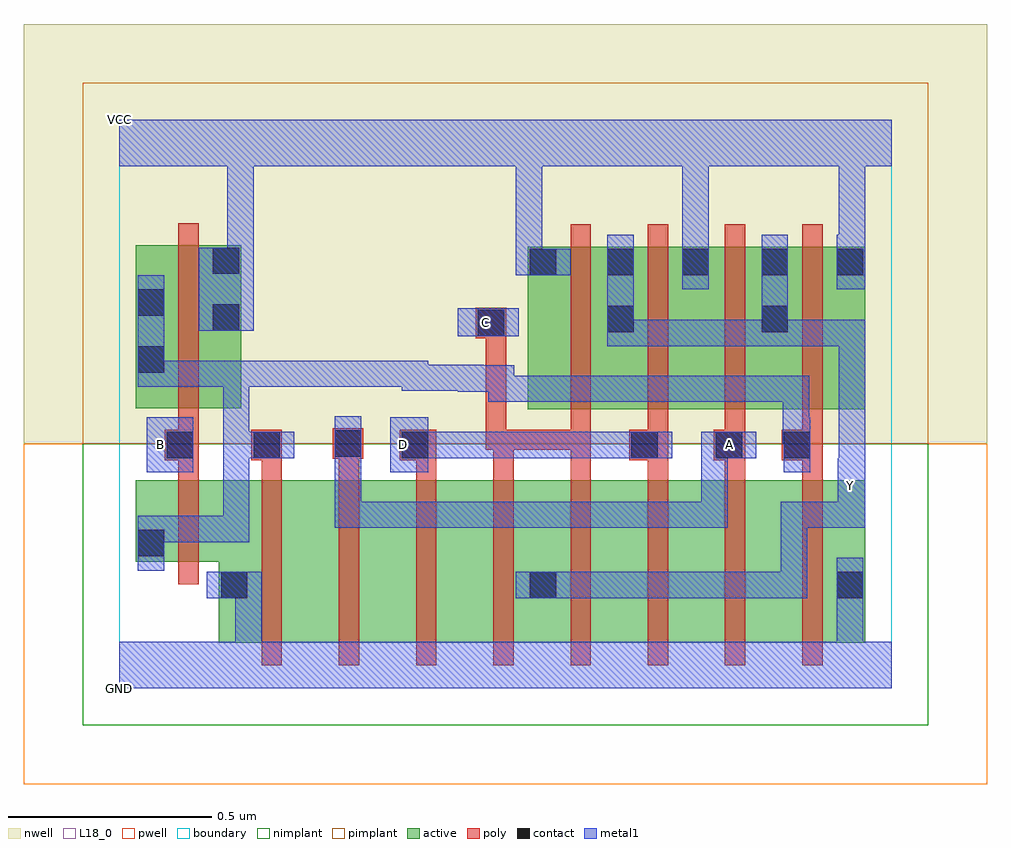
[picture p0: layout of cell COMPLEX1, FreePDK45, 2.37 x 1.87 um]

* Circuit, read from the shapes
.subckt COMPLEX1 A B C D GND VCC Y
M1 GND B n1 VSUBS nfet w=0.2u l=0.05u
M2 n2 n1 GND VSUBS nfet w=0.4u l=0.05u
M3 n3 A n2 VSUBS nfet w=0.4u l=0.05u
M4 n4 D n3 VSUBS nfet w=0.4u l=0.05u
M5 Y C n4 VSUBS nfet w=0.4u l=0.05u
M6 n5 C Y VSUBS nfet w=0.4u l=0.05u
M7 n6 D n5 VSUBS nfet w=0.4u l=0.05u
M8 n7 A n6 VSUBS nfet w=0.4u l=0.05u
M9 GND n1 n7 VSUBS nfet w=0.4u l=0.05u
M10 VCC B n1 n8 pfet w=0.4u l=0.05u
M11 Y C VCC n8 pfet w=0.4u l=0.05u
M12 VCC D Y n8 pfet w=0.4u l=0.05u
M13 Y A VCC n8 pfet w=0.4u l=0.05u
M14 VCC n1 Y n8 pfet w=0.4u l=0.05u
.ends

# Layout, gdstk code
import gdstk
lib = gdstk.Library(unit=1e-6, precision=1e-09)
def R(c, l, rs):  # rectangles x0, y0, x1, y1
    for r in rs: c.add(gdstk.rectangle(r[:2], r[2:], *l))
def A(c, l, x, y, w, h, nx, ny, dx, dy):  # array of equal rectangles
    R(c, l, [(x+i*dx, y+j*dy, x+i*dx+w, y+j*dy+h) for i in range(nx) for j in range(ny)])
active = (1, 0)
pwell = (2, 0)
nwell = (3, 0)
nimplant = (4, 0)
pimplant = (5, 0)
poly = (9, 0)
contact = (10, 0)
metal1 = (11, 0)
L18_0 = (18, 0)
boundary = (235, 0)

complex1 = lib.new_cell('COMPLEX1')
R(complex1, active, [(0.245,0.112,0.47,0.512), (0.245,0.112,0.32,0.312), (0.47,0.112,0.66,0.512), (0.66,0.112,0.85,0.512), (0.85,0.112,1.08,0.512), (1.005,0.112,1.23,0.512), (1.23,0.112,1.42,0.512), (1.42,0.112,1.61,0.512), (1.61,0.112,1.835,0.512), (1.76,0.112,1.835,0.512), (1.005,0.147,1.08,0.492), (0.04,0.312,0.115,0.512), (0.04,0.312,0.32,0.512), (1.005,0.687,1.27,1.087), (1.195,0.687,1.455,1.087), (1.38,0.687,1.65,1.087), (1.575,0.687,1.835,1.087), (1.76,0.687,1.835,1.087), (0.04,0.69,0.3,1.09), (0.04,0.69,0.115,1.057), (0.225,0.69,0.3,1.09), (1.005,0.72,1.08,1.087), (1.195,0.802,1.27,1.087), (1.575,0.802,1.65,1.087), (1.38,0.907,1.455,1.087)])
R(complex1, pwell, [(-0.235,-0.235,2.135,0.602)])
R(complex1, nwell, [(-0.235,0.602,2.135,1.635)])
R(complex1, nimplant, [(-0.09,-0.09,1.99,0.602)])
R(complex1, pimplant, [(-0.09,0.602,1.99,1.49)])
A(complex1, poly, 0.35, 0.057, 0.05, 0.51, 8, 1, 0.19, 0)
A(complex1, poly, 1.3, 0.517, 0.05, 0.095, 3, 1, 0.19, 0)
A(complex1, poly, 1.11, 0.587, 0.05, 0.095, 4, 1, 0.19, 0)
A(complex1, poly, 1.11, 0.632, 0.05, 0.51, 4, 1, 0.19, 0)
R(complex1, poly, [(0.145,0.257,0.195,0.567), (0.145,0.517,0.195,0.612), (0.35,0.517,0.4,0.612), (0.54,0.517,0.59,0.615), (0.73,0.517,0.78,0.612), (0.92,0.517,0.97,0.637), (1.11,0.517,1.16,0.637), (0.112,0.562,0.195,0.637), (0.325,0.562,0.4,0.637), (0.69,0.562,0.78,0.637), (1.255,0.562,1.35,0.637), (1.462,0.562,1.54,0.637), (1.63,0.562,1.73,0.637), (0.525,0.565,0.6,0.64), (0.145,0.587,0.195,0.685), (0.902,0.587,0.952,0.912), (0.902,0.587,0.955,0.637), (0.905,0.587,0.955,0.637), (0.905,0.587,0.97,0.637), (0.92,0.587,1.16,0.637), (0.92,0.587,0.97,0.637), (0.92,0.587,0.97,0.637), (1.11,0.587,1.16,0.637), (0.145,0.635,0.195,1.145), (0.877,0.862,0.952,0.937)])
R(complex1, contact, [(0.25,0.222,0.315,0.287), (1.01,0.222,1.075,0.287), (1.765,0.222,1.83,0.287), (0.045,0.325,0.11,0.39), (0.117,0.567,0.182,0.632), (0.33,0.567,0.395,0.632), (0.695,0.567,0.76,0.632), (1.26,0.567,1.325,0.632), (1.467,0.567,1.532,0.632), (1.635,0.567,1.7,0.632), (0.53,0.57,0.595,0.635), (0.045,0.777,0.11,0.842), (0.882,0.867,0.947,0.932), (1.2,0.877,1.265,0.942), (1.58,0.877,1.645,0.942), (0.23,0.88,0.295,0.945), (0.045,0.917,0.11,0.982), (1.01,1.017,1.075,1.082), (1.2,1.017,1.265,1.082), (1.385,1.017,1.45,1.082), (1.58,1.017,1.645,1.082), (1.765,1.017,1.83,1.082), (0.23,1.02,0.295,1.085)])
R(complex1, metal1, [(0,0,1.9,0.115), (0.285,0.05,0.35,0.287), (1.765,0.05,1.83,0.252), (1.765,0.187,1.83,0.322), (0.215,0.222,0.35,0.287), (0.975,0.222,1.11,0.287), (1.045,0.222,1.11,0.287), (1.045,0.222,1.11,0.287), (1.045,0.222,1.265,0.287), (1.2,0.222,1.265,0.287), (1.2,0.222,1.265,0.287), (1.2,0.222,1.265,0.287), (1.2,0.222,1.507,0.287), (1.442,0.222,1.507,0.287), (1.442,0.222,1.507,0.287), (1.442,0.222,1.507,0.287), (1.442,0.222,1.692,0.287), (1.627,0.222,1.692,0.287), (1.627,0.222,1.692,0.46), (0.045,0.29,0.11,0.425), (0.045,0.36,0.11,0.425), (0.045,0.36,0.11,0.425), (0.045,0.36,0.32,0.425), (0.255,0.36,0.32,0.425), (0.255,0.36,0.32,0.632), (0.53,0.395,0.595,0.46), (0.53,0.395,0.76,0.46), (0.53,0.395,0.595,0.6), (0.695,0.395,0.76,0.46), (0.695,0.395,0.76,0.46), (0.695,0.395,0.76,0.46), (0.695,0.395,0.897,0.46), (0.832,0.395,0.897,0.46), (0.832,0.395,1.035,0.46), (0.97,0.395,1.035,0.46), (0.97,0.395,1.127,0.46), (1.062,0.395,1.127,0.46), (1.062,0.395,1.265,0.46), (1.2,0.395,1.265,0.46), (1.2,0.395,1.265,0.46), (1.2,0.395,1.265,0.46), (1.2,0.395,1.497,0.46), (1.432,0.395,1.497,0.46), (1.432,0.395,1.497,0.632), (1.627,0.395,1.692,0.46), (1.627,0.395,1.835,0.46), (1.77,0.395,1.835,0.46), (1.77,0.395,1.835,0.46), (1.77,0.395,1.835,0.46), (1.77,0.395,1.835,0.497), (1.767,0.432,1.835,0.567), (1.77,0.502,1.835,0.907), (0.067,0.532,0.182,0.667), (0.667,0.532,0.76,0.667), (1.635,0.532,1.7,0.667), (0.53,0.535,0.595,0.6), (0.53,0.535,0.595,0.6), (0.53,0.535,0.595,0.67), (0.255,0.567,0.32,0.632), (0.255,0.567,0.36,0.632), (0.255,0.567,0.32,0.807), (0.295,0.567,0.43,0.632), (0.695,0.567,0.76,0.632), (0.695,0.567,0.76,0.632), (0.695,0.567,0.897,0.632), (0.832,0.567,0.897,0.632), (0.832,0.567,1.12,0.632), (1.055,0.567,1.12,0.632), (1.055,0.567,1.12,0.632), (1.055,0.567,1.12,0.632), (1.055,0.567,1.29,0.632), (1.225,0.567,1.29,0.632), (1.225,0.567,1.29,0.632), (1.225,0.567,1.36,0.632), (1.432,0.567,1.497,0.632), (1.432,0.567,1.497,0.632), (1.432,0.567,1.567,0.632), (1.632,0.602,1.697,0.667), (1.632,0.602,1.7,0.667), (1.632,0.602,1.697,0.77), (0.907,0.705,1.127,0.77), (0.907,0.705,0.972,0.795), (1.062,0.705,1.127,0.77), (1.062,0.705,1.127,0.77), (1.062,0.705,1.127,0.77), (1.062,0.705,1.265,0.77), (1.2,0.705,1.265,0.77), (1.2,0.705,1.265,0.77), (1.2,0.705,1.265,0.77), (1.2,0.705,1.507,0.77), (1.442,0.705,1.507,0.77), (1.442,0.705,1.507,0.77), (1.442,0.705,1.507,0.77), (1.442,0.705,1.697,0.77), (1.632,0.705,1.697,0.77), (0.832,0.73,0.972,0.795), (0.832,0.73,0.897,0.797), (0.695,0.732,0.897,0.797), (0.695,0.732,0.76,0.807), (0.045,0.742,0.11,0.807), (0.045,0.742,0.11,0.807), (0.045,0.742,0.11,1.017), (0.045,0.742,0.32,0.807), (0.255,0.742,0.32,0.807), (0.255,0.742,0.32,0.807), (0.255,0.742,0.32,0.807), (0.255,0.742,0.457,0.807), (0.392,0.742,0.457,0.807), (0.392,0.742,0.595,0.807), (0.53,0.742,0.595,0.807), (0.53,0.742,0.595,0.807), (0.53,0.742,0.595,0.807), (0.53,0.742,0.76,0.807), (1.2,0.842,1.265,0.907), (1.2,0.842,1.265,0.907), (1.2,0.842,1.265,1.117), (1.2,0.842,1.507,0.907), (1.442,0.842,1.507,0.907), (1.442,0.842,1.507,0.907), (1.442,0.842,1.507,0.907), (1.442,0.842,1.645,0.907), (1.58,0.842,1.835,0.907), (1.58,0.842,1.645,1.117), (1.77,0.842,1.835,0.907), (1.77,0.842,1.835,0.907), (1.77,0.842,1.835,0.907), (1.77,0.842,1.835,0.907), (1.77,0.842,1.835,0.907), (0.832,0.867,0.982,0.935), (0.195,0.88,0.33,1.085), (1.385,0.982,1.45,1.117), (1.765,0.982,1.835,1.117), (0.975,1.017,1.11,1.082), (0.975,1.017,1.04,1.35), (0.265,1.02,0.33,1.085), (0.265,1.02,0.33,1.085), (0.265,1.02,0.33,1.35), (1.385,1.052,1.45,1.35), (1.77,1.052,1.835,1.117), (1.77,1.052,1.835,1.117), (1.77,1.052,1.835,1.35), (0,1.285,1.9,1.4), (0.975,1.285,1.04,1.35), (0.975,1.285,1.04,1.35), (1.385,1.285,1.45,1.35), (1.385,1.285,1.45,1.35)])
R(complex1, L18_0, [(0,0,1.9,0.115), (0.285,0.05,0.35,0.287), (1.765,0.05,1.83,0.252), (1.765,0.187,1.83,0.322), (0.215,0.222,0.35,0.287), (0.975,0.222,1.11,0.287), (1.045,0.222,1.11,0.287), (1.045,0.222,1.11,0.287), (1.045,0.222,1.265,0.287), (1.2,0.222,1.265,0.287), (1.2,0.222,1.265,0.287), (1.2,0.222,1.265,0.287), (1.2,0.222,1.507,0.287), (1.442,0.222,1.507,0.287), (1.442,0.222,1.507,0.287), (1.442,0.222,1.507,0.287), (1.442,0.222,1.692,0.287), (1.627,0.222,1.692,0.287), (1.627,0.222,1.692,0.46), (0.53,0.395,0.595,0.46), (0.53,0.395,0.595,0.6), (0.53,0.395,0.76,0.46), (0.695,0.395,0.76,0.46), (0.695,0.395,0.76,0.46), (0.695,0.395,0.76,0.46), (0.695,0.395,0.897,0.46), (0.832,0.395,0.897,0.46), (0.832,0.395,1.035,0.46), (0.97,0.395,1.035,0.46), (0.97,0.395,1.127,0.46), (1.062,0.395,1.127,0.46), (1.062,0.395,1.265,0.46), (1.2,0.395,1.265,0.46), (1.2,0.395,1.265,0.46), (1.2,0.395,1.265,0.46), (1.2,0.395,1.497,0.46), (1.432,0.395,1.497,0.632), (1.432,0.395,1.497,0.46), (1.627,0.395,1.692,0.46), (1.627,0.395,1.835,0.46), (1.77,0.395,1.835,0.46), (1.77,0.395,1.835,0.46), (1.77,0.395,1.835,0.46), (1.77,0.395,1.835,0.497), (1.767,0.432,1.835,0.567), (1.767,0.467,1.832,0.532), (1.77,0.502,1.835,0.907), (0.067,0.532,0.182,0.667), (0.667,0.532,0.76,0.667), (0.53,0.535,0.595,0.6), (0.53,0.535,0.595,0.6), (0.53,0.535,0.595,0.67), (0.067,0.567,0.132,0.632), (0.667,0.567,0.732,0.632), (0.695,0.567,0.76,0.632), (0.695,0.567,0.76,0.632), (0.695,0.567,0.897,0.632), (0.832,0.567,0.897,0.632), (0.832,0.567,1.12,0.632), (1.055,0.567,1.12,0.632), (1.055,0.567,1.12,0.632), (1.055,0.567,1.12,0.632), (1.055,0.567,1.29,0.632), (1.225,0.567,1.36,0.632), (1.225,0.567,1.29,0.632), (1.225,0.567,1.29,0.632), (1.432,0.567,1.567,0.632), (1.432,0.567,1.497,0.632), (1.432,0.567,1.497,0.632), (1.467,0.567,1.532,0.632), (1.2,0.842,1.265,0.907), (1.2,0.842,1.265,0.907), (1.2,0.842,1.265,1.117), (1.2,0.842,1.507,0.907), (1.442,0.842,1.507,0.907), (1.442,0.842,1.507,0.907), (1.442,0.842,1.507,0.907), (1.442,0.842,1.645,0.907), (1.58,0.842,1.645,1.117), (1.58,0.842,1.835,0.907), (1.77,0.842,1.835,0.907), (1.77,0.842,1.835,0.907), (1.77,0.842,1.835,0.907), (1.77,0.842,1.835,0.907), (1.77,0.842,1.835,0.907), (0.832,0.867,0.982,0.935), (0.867,0.867,0.932,0.932), (0.195,0.88,0.33,1.085), (1.385,0.982,1.45,1.117), (1.765,0.982,1.835,1.117), (0.975,1.017,1.11,1.082), (0.975,1.017,1.04,1.35), (0.265,1.02,0.33,1.085), (0.265,1.02,0.33,1.085), (0.265,1.02,0.33,1.35), (1.385,1.052,1.45,1.35), (1.77,1.052,1.835,1.117), (1.77,1.052,1.835,1.117), (1.77,1.052,1.835,1.35), (0,1.285,1.9,1.4), (0.975,1.285,1.04,1.35), (0.975,1.285,1.04,1.35), (1.385,1.285,1.45,1.35), (1.385,1.285,1.45,1.35)])
R(complex1, boundary, [(0,0,1.9,1.4)])
complex1.add(gdstk.Label('A', (1.5,0.6), layer=11, texttype=0))
complex1.add(gdstk.Label('B', (0.1,0.6), layer=11, texttype=0))
complex1.add(gdstk.Label('C', (0.9,0.9), layer=11, texttype=0))
complex1.add(gdstk.Label('D', (0.7,0.6), layer=11, texttype=0))
complex1.add(gdstk.Label('Y', (1.8,0.5), layer=11, texttype=0))
complex1.add(gdstk.Label('VCC', (0,1.4), layer=11, texttype=0))
complex1.add(gdstk.Label('GND', (0,0), layer=11, texttype=0))

lib.write_gds('COMPLEX1.gds')
